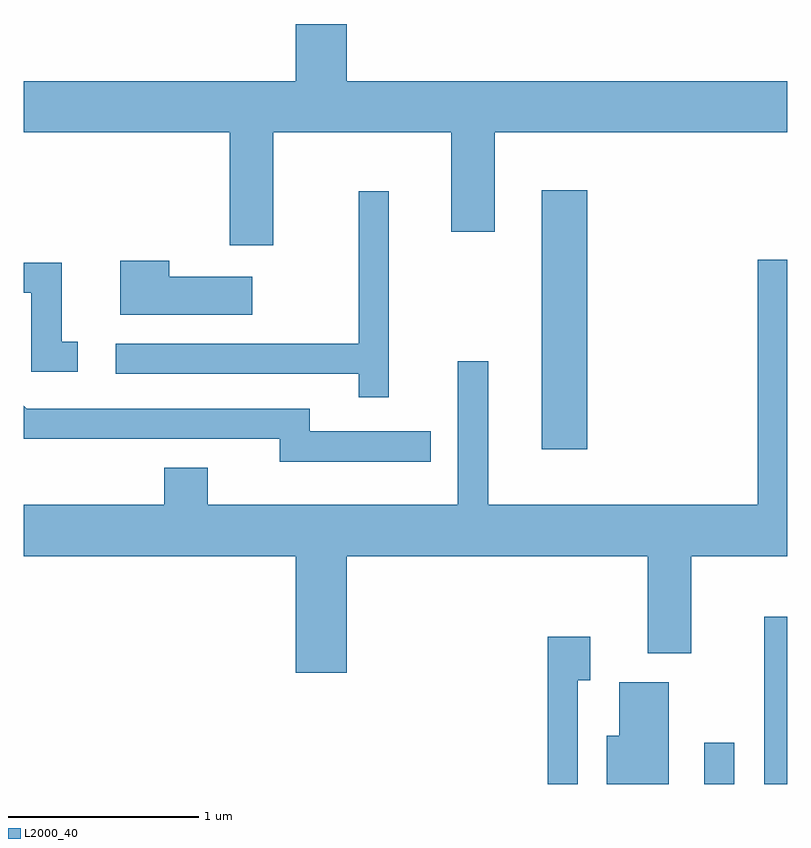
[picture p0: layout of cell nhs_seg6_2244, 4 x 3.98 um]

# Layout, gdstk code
import gdstk
lib = gdstk.Library(unit=1e-6, precision=1e-09)
def R(c, l, rs):  # rectangles x0, y0, x1, y1
    for r in rs: c.add(gdstk.rectangle(r[:2], r[2:], *l))
def P(c, l, *ps):  # polygons
    for p in ps: c.add(gdstk.Polygon(p, *l))
L2000_40 = (2000, 40)

nhs_seg6_2244 = lib.new_cell('nhs_seg6_2244')
R(nhs_seg6_2244, L2000_40, [(257.176,1562.162,257.334,1562.378), (257.491,1562.162,257.611,1563.039), (256.326,1563.916,256.564,1565.274)])
P(nhs_seg6_2244, L2000_40, [(254.919,1565.576),(255.851,1565.576),(255.851,1565.056),(256.079,1565.056),(256.079,1565.576),(257.611,1565.576),(257.611,1565.844),(255.304,1565.844),(255.304,1566.144),(255.036,1566.144),(255.036,1565.844),(253.611,1565.844),(253.611,1565.576),(254.691,1565.576),(254.691,1564.986),(254.919,1564.986)],
  [(255.524,1565.268),(255.366,1565.268),(255.366,1564.469),(254.093,1564.469),(254.093,1564.311),(255.366,1564.311),(255.366,1564.188),(255.524,1564.188)],
  [(255.304,1563.356),(256.881,1563.356),(256.881,1562.846),(257.109,1562.846),(257.109,1563.356),(257.611,1563.356),(257.611,1564.909),(257.456,1564.909),(257.456,1563.624),(256.044,1563.624),(256.044,1564.378),(255.886,1564.378),(255.886,1563.624),(254.574,1563.624),(254.574,1563.819),(254.346,1563.819),(254.346,1563.624),(253.611,1563.624),(253.611,1563.356),(255.036,1563.356),(255.036,1562.746),(255.304,1562.746)],
  [(254.809,1564.819),(254.374,1564.819),(254.374,1564.904),(254.116,1564.904),(254.116,1564.621),(254.809,1564.621)],
  [(253.893,1564.479),(253.809,1564.479),(253.809,1564.894),(253.611,1564.894),(253.611,1564.736),(253.651,1564.736),(253.651,1564.321),(253.893,1564.321)],
  [(255.743,1564.009),(255.109,1564.009),(255.109,1564.129),(253.627,1564.129),(253.611,1564.145),(253.611,1563.971),(254.951,1563.971),(254.951,1563.851),(255.743,1563.851)],
  [(256.514,1562.706),(256.579,1562.706),(256.579,1562.934),(256.356,1562.934),(256.356,1562.162),(256.514,1562.162)],
  [(256.989,1562.694),(256.731,1562.694),(256.731,1562.414),(256.666,1562.414),(256.666,1562.162),(256.989,1562.162)])

lib.write_gds('nhs_seg6_2244.gds')
